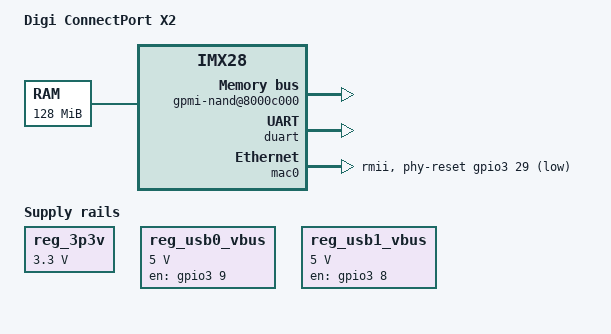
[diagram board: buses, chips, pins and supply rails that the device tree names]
/*
 * Copyright 2013 Digi International, Inc.
 *
 * The code contained herein is licensed under the GNU General Public
 * License. You may obtain a copy of the GNU General Public License
 * Version 2 or later at the following locations:
 *
 * http://www.opensource.org/licenses/gpl-license.html
 * http://www.gnu.org/copyleft/gpl.html
 */

/dts-v1/;
/include/ "imx28.dtsi"

/ {
	model = "Digi ConnectPort X2";
	compatible = "digi,cpx2", "fsl,imx28";

	memory {
		reg = <0x40000000 0x08000000>;
	};

	apb@80000000 {
		apbh@80000000 {
			gpmi-nand@8000c000 {
				pinctrl-names = "default";
				pinctrl-0 = <&gpmi_pins_a &gpmi_status_cfg>;
				status = "okay";
			};
		};

		apbx@80040000 {
			duart: serial@80074000 {
				pinctrl-names = "default";
				pinctrl-0 = <&duart_pins_c>;
				status = "okay";
			};

			usbphy0: usbphy@8007c000 {
				status = "disabled";
			};

			usbphy1: usbphy@8007e000 {
				status = "disabled";
			};
		};
	};

	ahb@80080000 {
		usb0: usb@80080000 {
			vbus-supply = <&reg_usb0_vbus>;
			status = "disabled";
		};

		usb1: usb@80090000 {
			vbus-supply = <&reg_usb1_vbus>;
			status = "disabled";
		};

		mac0: ethernet@800f0000 {
			phy-mode = "rmii";
			pinctrl-names = "default";
			pinctrl-0 = <&mac0_pins_a>;
			phy-reset-gpios = <&gpio3 29 0>;
			phy-reset-duration = <50>;
			status = "okay";
		};

	};

	regulators {
		compatible = "simple-bus";

		reg_3p3v: 3p3v {
			compatible = "regulator-fixed";
			regulator-name = "3P3V";
			regulator-min-microvolt = <3300000>;
			regulator-max-microvolt = <3300000>;
			regulator-always-on;
		};

		reg_usb0_vbus: usb0_vbus {
			compatible = "regulator-fixed";
			regulator-name = "usb0_vbus";
			regulator-min-microvolt = <5000000>;
			regulator-max-microvolt = <5000000>;
			gpio = <&gpio3 9 0>;
			enable-active-high;
		};

		reg_usb1_vbus: usb1_vbus {
			compatible = "regulator-fixed";
			regulator-name = "usb1_vbus";
			regulator-min-microvolt = <5000000>;
			regulator-max-microvolt = <5000000>;
			gpio = <&gpio3 8 0>;
			enable-active-high;
		};
	};
};
